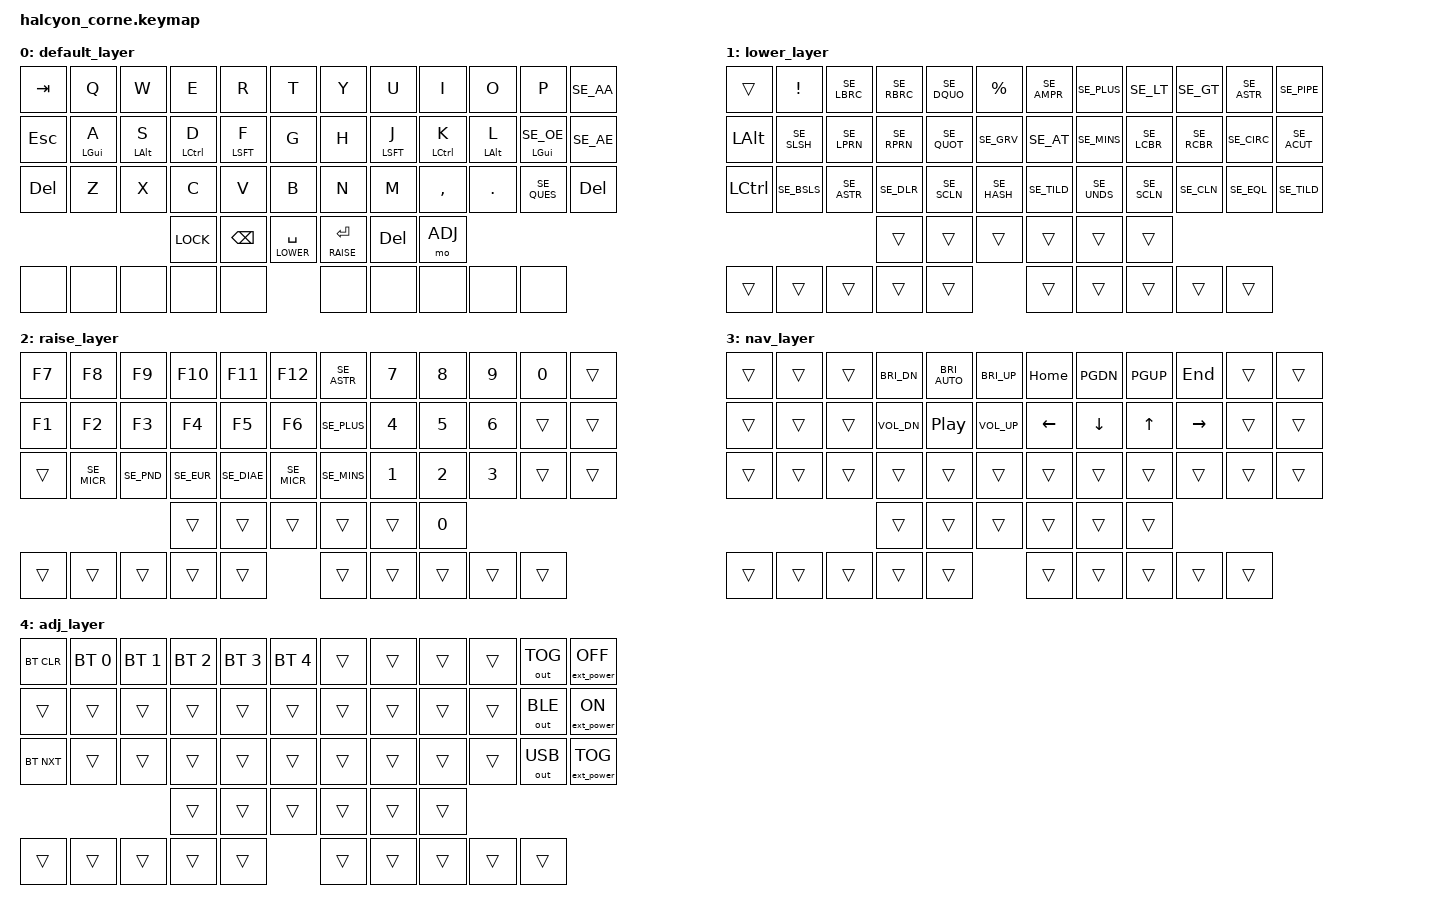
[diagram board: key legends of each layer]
#include <behaviors.dtsi>
#include <dt-bindings/zmk/bt.h>
#include <dt-bindings/zmk/keys.h>
#include <dt-bindings/zmk/outputs.h>
#include <dt-bindings/zmk/ext_power.h>
#include "keys-swedish.h"

#define DEFAULT 0
#define LOWER   1
#define RAISE   2
#define NAV     3
#define ADJ     4

#define FAST_COMBO_TIMEOUT 30
#define SLOW_COMBO_TIMEOUT 40

&lt {
    tapping-term-ms = <200>;
    flavor = "tap-preferred";
};
&mt {
    tapping-term-ms = <200>;
    flavor = "tap-preferred";
};
&caps_word {
    continue-list = <SE_MINS SE_UNDS SE_AMPR SE_AE SE_OE SE_AA>;
};

/ {
    combos {
        compatible = "zmk,combos";
        combo_caps {
            timeout-ms = <SLOW_COMBO_TIMEOUT>;
            key-positions = <16 19>;
            bindings = <&caps_word>;
        };
        combo_esc {
            timeout-ms = <FAST_COMBO_TIMEOUT>;
            key-positions = <19 20>;
            bindings = <&kp ESC>;
        };
        combo_tab {
            timeout-ms = <FAST_COMBO_TIMEOUT>;
            key-positions = <15 16>;
            bindings = <&kp TAB>;
        };
    };
};

/ {
    behaviors {
        hm: homerow_mods {
            compatible = "zmk,behavior-hold-tap";
            #binding-cells = <2>;
            tapping-term-ms = <200>;
            flavor = "tap-preferred";
            bindings = <&kp>, <&kp>;
        };
    };

};

/ {
  conditional_layers {
    compatible = "zmk,conditional-layers";
    tri_layer {
        if-layers = <1 2>;
        then-layer = <3>;
    };
  };
};

// The Halcyon Corne has 52 key positions: the 42 keys below, plus 10 extra
// positions (D0-D4 on each half) for Halcyon modules. They are the last line of
// every layer and are unused (&none / &trans).

/ {
        keymap {
                compatible = "zmk,keymap";

                default_layer {
// -----------------------------------------------------------------------------------------
// |  TAB |  Q  |  W  |  E  |  R  |  T  |   |  Y  |  U   |  I  |  O  |  P  | BKSP |
// | esc  |  A  |  S  |  D  |  F  |  G  |   |  H  |  J   |  K  |  L  |  ;  |  '   |
// | lock |  Z  |  X  |  C  |  V  |  B  |   |  N  |  M   |  ,  |  .  |  /  | SHFT |
//                    | GUI | LWR | SPC |   | ENT | RSE  | ALT |
                        bindings = <
   &kp TAB    &kp Q      &kp W      &kp E      &kp R      &kp T            &kp Y          &kp U       &kp I       &kp O      &kp P          &kp SE_AA
   &kp ESC    &hm LGUI A &hm LALT S &hm LCTL D &hm LSFT F &kp G            &kp H          &hm LSFT J  &hm LCTL K  &hm LALT L &hm LGUI SE_OE &kp SE_AE
   &kp DEL    &kp Z      &kp X      &kp C      &kp V      &kp B            &kp N          &kp M       &kp CMMA    &kp DOT    &kp SE_QUES    &kp DEL
                                    &kp K_LOCK &kp BKSP   &lt LOWER SPC    &lt RAISE RET  &kp DEL     &mo ADJ

   &none &none &none &none &none                                           &none &none &none &none &none
                        >;
                };
                lower_layer {
// -----------------------------------------------------------------------------------------
// |      |  1  |  2  |  3  |  4  |  5  |   |  6  |  7  |  8  |  9  |  0  | DEL  |
// |      |     |     |     |     |     |   | LFT | DWN |  UP | RGT |     |      |
// |      | BT1 | BT2 | BT3 | BT4 | BT5 |   | HME |     |     | END |     |      |
//                    |     |     | BTC |   |     |     |     |
                        bindings = <
   &trans   &kp EXCL    &kp SE_LBRC &kp SE_RBRC &kp SE_DQUO &kp PRCNT      &kp SE_AMPR &kp SE_PLUS &kp SE_LT   &kp SE_GT   &kp SE_ASTR &kp SE_PIPE
   &kp LALT &kp SE_SLSH &kp SE_LPRN &kp SE_RPRN &kp SE_QUOT &kp SE_GRV     &kp SE_AT   &kp SE_MINS &kp SE_LCBR &kp SE_RCBR &kp SE_CIRC &kp SE_ACUT
   &kp LCTL &kp SE_BSLS &kp SE_ASTR &kp SE_DLR  &kp SE_SCLN &kp SE_HASH    &kp SE_TILD &kp SE_UNDS &kp SE_SCLN &kp SE_CLN  &kp SE_EQL  &kp SE_TILD
                                    &trans      &trans      &trans         &trans      &trans      &trans

   &trans &trans &trans &trans &trans                                      &trans &trans &trans &trans &trans
                        >;
                };

                raise_layer {
// -----------------------------------------------------------------------------------------
// |  ESC |  !  |  @  |  #  |  $  |  %  |   |  ^  |  &  |  *  |  (  |  )  | BKSP |
// | CTRL |     |     |     |     |     |   |  -  |  =  |  {  |  }  | "|" |  `   |
// | SHFT |     |     |     |     |     |   |  _  |  +  |  [  |  ]  |  \  |  ~   | // TODO: Fix this row when &mkp is committed
//                    | GUI |     | SPC |   | ENT |     | ALT |
                        bindings = <
   &kp F7 &kp F8      &kp F9     &kp F10    &kp F11     &kp F12           &kp SE_ASTR &kp N7 &kp N8 &kp N9 &kp N0 &trans
   &kp F1 &kp F2      &kp F3     &kp F4     &kp F5      &kp F6            &kp SE_PLUS &kp N4 &kp N5 &kp N6 &trans &trans
   &trans &kp SE_MICR &kp SE_PND &kp SE_EUR &kp SE_DIAE &kp SE_MICR       &kp SE_MINS &kp N1 &kp N2 &kp N3 &trans &trans
                                 &trans     &trans      &trans            &trans      &trans &kp N0

   &trans &trans &trans &trans &trans                                      &trans &trans &trans &trans &trans
                        >;
                };

                nav_layer {
// -----------------------------------------------------------------------------------------
// |  ESC |  !  |  @  |  #  |  $  |  %  |   |  ^  |  &  |  *  |  (  |  )  | BKSP |
// | CTRL |     |     |     |     |     |   |  -  |  =  |  {  |  }  | "|" |  `   |
// | SHFT |     |     |     |     |     |   |  _  |  +  |  [  |  ]  |  \  |  ~   | // TODO: Fix this row when &mkp is committed
//                    | GUI |     | SPC |   | ENT |     | ALT |
                        bindings = <
   &trans &trans &trans &kp C_BRI_DN &kp C_BRI_AUTO &kp C_BRI_UP   &kp HOME &kp PGDN &kp PGUP &kp END   &trans &trans
   &trans &trans &trans &kp C_VOL_DN &kp C_PP       &kp C_VOL_UP   &kp LEFT &kp DOWN &kp UP   &kp RIGHT &trans &trans
   &trans &trans &trans &trans       &trans         &trans         &trans   &trans   &trans   &trans    &trans &trans
                        &trans       &trans         &trans         &trans   &trans   &trans

   &trans &trans &trans &trans &trans                              &trans &trans &trans &trans &trans
                        >;
                };

                adj_layer {
// -----------------------------------------------------------------------------------------
// |  ESC |  !  |  @  |  #  |  $  |  %  |   |  ^  |  &  |  *  |  (  |  )  | BKSP |
// | CTRL |     |     |     |     |     |   |  -  |  =  |  {  |  }  | "|" |  `   |
// | SHFT |     |     |     |     |     |   |  _  |  +  |  [  |  ]  |  \  |  ~   | // TODO: Fix this row when &mkp is committed
//                    | GUI |     | SPC |   | ENT |     | ALT |
                        bindings = <
   &bt BT_CLR    &bt BT_SEL 0 &bt BT_SEL 1 &bt BT_SEL 2 &bt BT_SEL 3 &bt BT_SEL 4      &trans &trans &trans &trans &out OUT_TOG &ext_power EP_OFF
   &trans        &trans       &trans       &trans       &trans       &trans            &trans &trans &trans &trans &out OUT_BLE &ext_power EP_ON
   &bt BT_NXT    &trans       &trans       &trans       &trans       &trans            &trans &trans &trans &trans &out OUT_USB &ext_power EP_TOG
                                           &trans       &trans       &trans            &trans &trans &trans

   &trans &trans &trans &trans &trans                                                  &trans &trans &trans &trans &trans
                        >;
                };
        };
};
